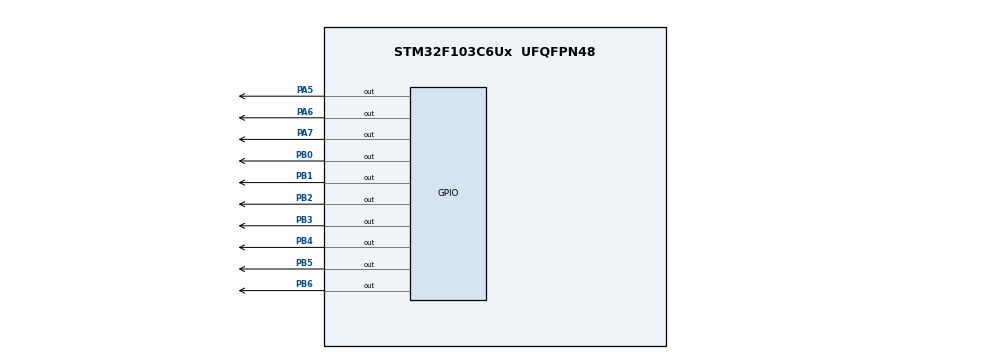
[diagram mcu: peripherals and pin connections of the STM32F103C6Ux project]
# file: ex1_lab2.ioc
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Mcu.Family=STM32F1
Mcu.Name=STM32F103C6Ux
Mcu.Package=UFQFPN48
NVIC.PriorityGroup=NVIC_PRIORITYGROUP_4
NVIC.TIM2_IRQn=true\:0\:0\:false\:false\:true\:true\:true
PA5.Signal=GPIO_Output
PA6.Signal=GPIO_Output
PA7.Signal=GPIO_Output
PB0.Signal=GPIO_Output
PB1.Signal=GPIO_Output
PB2.Signal=GPIO_Output
PB3.Signal=GPIO_Output
PB4.Signal=GPIO_Output
PB5.Signal=GPIO_Output
PB6.Signal=GPIO_Output
ProjectManager.HeapSize=0x200
ProjectManager.StackSize=0x400
ProjectManager.TargetToolchain=STM32CubeIDE
RCC.APB1Freq_Value=8000000
RCC.APB2Freq_Value=8000000
TIM2.Period=9
TIM2.Prescaler=7999
VP_SYS_VS_ND.Mode=No_Debug
VP_TIM2_VS_ClockSourceINT.Mode=Internal
board=custom

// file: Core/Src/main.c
/* USER CODE BEGIN Header */
/**
  ******************************************************************************
  * @file           : main.c
  * @brief          : Main program body
  ******************************************************************************
  * @attention
  *
  * <h2><center>&copy; Copyright (c) 2023 STMicroelectronics.
  * All rights reserved.</center></h2>
  *
  * This software component is licensed by ST under BSD 3-Clause license,
  * the "License"; You may not use this file except in compliance with the
  * License. You may obtain a copy of the License at:
  *                        opensource.org/licenses/BSD-3-Clause
  *
  ******************************************************************************
  */
/* USER CODE END Header */
#include "main.h"

TIM_HandleTypeDef htim2;

void SystemClock_Config(void);
static void MX_GPIO_Init(void);
static void MX_TIM2_Init(void);
void display7SEG(int num);

int main(void)
{

  /* MCU Configuration--------------------------------------------------------*/

  /* Reset of all peripherals, Initializes the Flash interface and the Systick. */
  HAL_Init();

  /* Configure the system clock */
  SystemClock_Config();

  /* Initialize all configured peripherals */
  MX_GPIO_Init();
  MX_TIM2_Init();
  /* USER CODE BEGIN 2 */
HAL_TIM_Base_Start_IT(&htim2);
  /* USER CODE END 2 */

  /* Infinite loop */
  while (1)
  {

  }
}

void SystemClock_Config(void)
{
  RCC_OscInitTypeDef RCC_OscInitStruct = {0};
  RCC_ClkInitTypeDef RCC_ClkInitStruct = {0};

  /** Initializes the RCC Oscillators according to the specified parameters
  * in the RCC_OscInitTypeDef structure.
  */
  RCC_OscInitStruct.OscillatorType = RCC_OSCILLATORTYPE_HSI;
  RCC_OscInitStruct.HSIState = RCC_HSI_ON;
  RCC_OscInitStruct.HSICalibrationValue = RCC_HSICALIBRATION_DEFAULT;
  RCC_OscInitStruct.PLL.PLLState = RCC_PLL_NONE;
  if (HAL_RCC_OscConfig(&RCC_OscInitStruct) != HAL_OK)
  {
    Error_Handler();
  }
  /** Initializes the CPU, AHB and APB buses clocks
  */
  RCC_ClkInitStruct.ClockType = RCC_CLOCKTYPE_HCLK|RCC_CLOCKTYPE_SYSCLK
                              |RCC_CLOCKTYPE_PCLK1|RCC_CLOCKTYPE_PCLK2;
  RCC_ClkInitStruct.SYSCLKSource = RCC_SYSCLKSOURCE_HSI;
  RCC_ClkInitStruct.AHBCLKDivider = RCC_SYSCLK_DIV1;
  RCC_ClkInitStruct.APB1CLKDivider = RCC_HCLK_DIV1;
  RCC_ClkInitStruct.APB2CLKDivider = RCC_HCLK_DIV1;

  if (HAL_RCC_ClockConfig(&RCC_ClkInitStruct, FLASH_LATENCY_0) != HAL_OK)
  {
    Error_Handler();
  }
}

static void MX_TIM2_Init(void)
{

  TIM_ClockConfigTypeDef sClockSourceConfig = {0};
  TIM_MasterConfigTypeDef sMasterConfig = {0};

  htim2.Instance = TIM2;
  htim2.Init.Prescaler = 7999;
  htim2.Init.CounterMode = TIM_COUNTERMODE_UP;
  htim2.Init.Period = 9;
  htim2.Init.ClockDivision = TIM_CLOCKDIVISION_DIV1;
  htim2.Init.AutoReloadPreload = TIM_AUTORELOAD_PRELOAD_DISABLE;
  if (HAL_TIM_Base_Init(&htim2) != HAL_OK)
  {
    Error_Handler();
  }
  sClockSourceConfig.ClockSource = TIM_CLOCKSOURCE_INTERNAL;
  if (HAL_TIM_ConfigClockSource(&htim2, &sClockSourceConfig) != HAL_OK)
  {
    Error_Handler();
  }
  sMasterConfig.MasterOutputTrigger = TIM_TRGO_RESET;
  sMasterConfig.MasterSlaveMode = TIM_MASTERSLAVEMODE_DISABLE;
  if (HAL_TIMEx_MasterConfigSynchronization(&htim2, &sMasterConfig) != HAL_OK)
  {
    Error_Handler();
  }

}

static void MX_GPIO_Init(void)
{
  GPIO_InitTypeDef GPIO_InitStruct = {0};

  /* GPIO Ports Clock Enable */
  __HAL_RCC_GPIOA_CLK_ENABLE();
  __HAL_RCC_GPIOB_CLK_ENABLE();

  /*Configure GPIO pin Output Level */
  HAL_GPIO_WritePin(GPIOA, GPIO_PIN_5|GPIO_PIN_6|GPIO_PIN_7, GPIO_PIN_RESET);

  /*Configure GPIO pin Output Level */
  HAL_GPIO_WritePin(GPIOB, GPIO_PIN_0|GPIO_PIN_1|GPIO_PIN_3|GPIO_PIN_4
                          |GPIO_PIN_5|GPIO_PIN_6, GPIO_PIN_RESET);

  /*Configure GPIO pins : PA5 PA6 PA7 */
  GPIO_InitStruct.Pin = GPIO_PIN_5|GPIO_PIN_6|GPIO_PIN_7;
  GPIO_InitStruct.Mode = GPIO_MODE_OUTPUT_PP;
  GPIO_InitStruct.Pull = GPIO_NOPULL;
  GPIO_InitStruct.Speed = GPIO_SPEED_FREQ_LOW;
  HAL_GPIO_Init(GPIOA, &GPIO_InitStruct);

  /*Configure GPIO pins : PB0 PB1 PB3 PB4
                           PB5 PB6 */
  GPIO_InitStruct.Pin = GPIO_PIN_0|GPIO_PIN_1|GPIO_PIN_3|GPIO_PIN_4
                          |GPIO_PIN_5|GPIO_PIN_6;
  GPIO_InitStruct.Mode = GPIO_MODE_OUTPUT_PP;
  GPIO_InitStruct.Pull = GPIO_NOPULL;
  GPIO_InitStruct.Speed = GPIO_SPEED_FREQ_LOW;
  HAL_GPIO_Init(GPIOB, &GPIO_InitStruct);

}

void display7SEG(int num) {
    char led7seg[10] = {0xC0, 0xF9, 0xA4, 0xB0, 0x99, 0x92, 0x82, 0xF8, 0x80, 0x90};
    for (int i = 0; i < 7; i++) {
        HAL_GPIO_WritePin(GPIOB, GPIO_PIN_0 << i, (led7seg[num] >> i) & 1);
    }
}

/* USER CODE BEGIN 4 */

int counter_1 = 50;
int counter_2 = 50;
int state = 0;

void HAL_TIM_PeriodElapsedCallback(TIM_HandleTypeDef *htim) {
  counter_1--;
  if (counter_1 <= 0) {
    counter_1 = 50;
    HAL_GPIO_TogglePin(GPIOA, GPIO_PIN_5);
  }

  counter_2--;
  if (counter_2 <= 0) {
	  counter_2 = 50;
      state++;
      if (state == 3) {
    	  state = 1;
      }
      if(state == 1 ) {
    	  HAL_GPIO_WritePin(GPIOA, GPIO_PIN_6, 0);
    	  HAL_GPIO_WritePin(GPIOA, GPIO_PIN_7, 1);
    	  display7SEG(1);
      }
      else if(state == 2) {
    	  HAL_GPIO_WritePin(GPIOA, GPIO_PIN_6, 1);
    	  HAL_GPIO_WritePin(GPIOA, GPIO_PIN_7, 0);
    	  display7SEG(2);
      }
  }
}

/* USER CODE END 4 */

void Error_Handler(void)
{
  __disable_irq();
  while (1)
  {
  }
};

/************************ (C) COPYRIGHT STMicroelectronics *****END OF FILE****/
